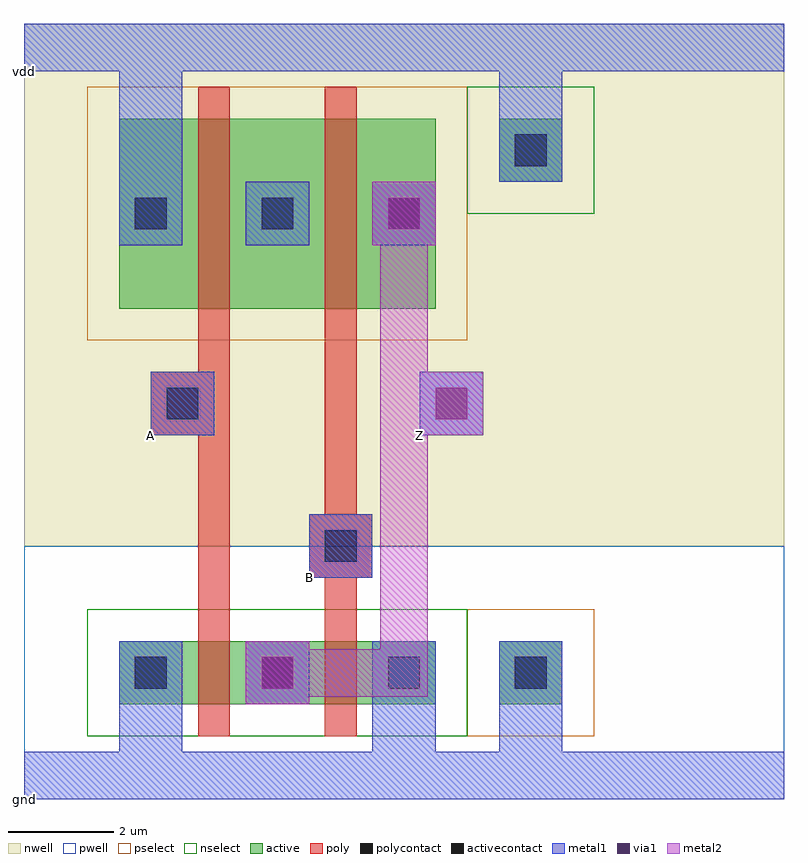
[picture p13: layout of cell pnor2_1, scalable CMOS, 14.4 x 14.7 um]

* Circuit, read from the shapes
.subckt pnor2_1 A B Z gnd vdd
M1 Z A gnd gnd nfet w=1.2u l=0.6u
M2 gnd B Z gnd nfet w=1.2u l=0.6u
M3 pmos_m1_w3_6_a_p_0/D A vdd vdd pfet w=3.6u l=0.6u
M4 Z B pmos_m1_w3_6_a_p_0/D vdd pfet w=3.6u l=0.6u
.ends

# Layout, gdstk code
from math import pi, radians
import gdstk
lib = gdstk.Library(unit=1e-6, precision=1e-09)
def R(c, l, rs):  # rectangles x0, y0, x1, y1
    for r in rs: c.add(gdstk.rectangle(r[:2], r[2:], *l))
pwell = (41, 0)
nwell = (42, 0)
active = (43, 0)
pselect = (44, 0)
nselect = (45, 0)
poly = (46, 0)
polycontact = (47, 0)
activecontact = (48, 0)
metal1 = (49, 0)
via1 = (50, 0)
metal2 = (51, 0)

active_contact_metal1_1x = lib.new_cell('active_contact_metal1_1x1_pn')
R(active_contact_metal1_1x, nwell, [(-1.8,-1.8,3,3), (-1.8,-1.8,3,3)])
R(active_contact_metal1_1x, active, [(0,0,1.2,1.2), (0,0,1.2,1.2)])
R(active_contact_metal1_1x, pselect, [(-0.6,-0.6,1.8,1.8), (-0.6,-0.6,1.8,1.8)])
R(active_contact_metal1_1x, activecontact, [(0.3,0.3,0.9,0.9), (0.3,0.3,0.9,0.9)])
R(active_contact_metal1_1x, metal1, [(0,0,1.2,1.2), (0,0,1.2,1.2)])

pmos_m1_w3_6_a_p = lib.new_cell('pmos_m1_w3_6_a_p')
R(pmos_m1_w3_6_a_p, nwell, [(-1.8,-1.8,5.4,5.4)])
R(pmos_m1_w3_6_a_p, active, [(0,0,3.6,3.6)])
R(pmos_m1_w3_6_a_p, pselect, [(-0.6,-0.6,4.2,4.2)])
R(pmos_m1_w3_6_a_p, poly, [(1.5,-0.6,2.1,4.2), (1.5,-0.6,2.1,4.2)])
R(pmos_m1_w3_6_a_p, metal1, [(0,1.2,1.2,2.4), (2.4,1.2,3.6,2.4)])
pmos_m1_w3_6_a_p.add(gdstk.Reference(active_contact_metal1_1x, (0,1.2)))
pmos_m1_w3_6_a_p.add(gdstk.Reference(active_contact_metal1_1x, (2.4,1.2)))
pmos_m1_w3_6_a_p.add(gdstk.Label('S', (0,1.2), layer=49, texttype=0))
pmos_m1_w3_6_a_p.add(gdstk.Label('D', (2.4,1.2), layer=49, texttype=0))
pmos_m1_w3_6_a_p.add(gdstk.Label('G', (1.5,-0.6), layer=46, texttype=0))

c_active_contact_metal1_1x = lib.new_cell('active_contact_metal1_1x1_np')
R(c_active_contact_metal1_1x, pwell, [(-1.8,-1.8,3,3)])
R(c_active_contact_metal1_1x, active, [(0,0,1.2,1.2)])
R(c_active_contact_metal1_1x, nselect, [(-0.6,-0.6,1.8,1.8)])
R(c_active_contact_metal1_1x, activecontact, [(0.3,0.3,0.9,0.9)])
R(c_active_contact_metal1_1x, metal1, [(0,0,1.2,1.2)])

nmos_m1_w1_2_a_p = lib.new_cell('nmos_m1_w1_2_a_p')
R(nmos_m1_w1_2_a_p, pwell, [(-1.8,-1.8,5.4,3), (-1.8,-1.8,5.4,3)])
R(nmos_m1_w1_2_a_p, active, [(0,0,3.6,1.2), (0,0,3.6,1.2)])
R(nmos_m1_w1_2_a_p, nselect, [(-0.6,-0.6,4.2,1.8), (-0.6,-0.6,4.2,1.8)])
R(nmos_m1_w1_2_a_p, poly, [(1.5,-0.6,2.1,1.8), (1.5,-0.6,2.1,1.8), (1.5,-0.6,2.1,1.8), (1.5,-0.6,2.1,1.8)])
R(nmos_m1_w1_2_a_p, metal1, [(0,0,1.2,1.2), (0,0,1.2,1.2), (2.4,0,3.6,1.2), (2.4,0,3.6,1.2)])
nmos_m1_w1_2_a_p.add(gdstk.Reference(c_active_contact_metal1_1x, (0,0)))
nmos_m1_w1_2_a_p.add(gdstk.Reference(c_active_contact_metal1_1x, (2.4,0)))
nmos_m1_w1_2_a_p.add(gdstk.Reference(c_active_contact_metal1_1x, (0,0)))
nmos_m1_w1_2_a_p.add(gdstk.Reference(c_active_contact_metal1_1x, (2.4,0)))
nmos_m1_w1_2_a_p.add(gdstk.Label('S', (0,0), layer=49, texttype=0))
nmos_m1_w1_2_a_p.add(gdstk.Label('D', (2.4,0), layer=49, texttype=0))
nmos_m1_w1_2_a_p.add(gdstk.Label('G', (1.5,-0.6), layer=46, texttype=0))
nmos_m1_w1_2_a_p.add(gdstk.Label('S', (0,0), layer=49, texttype=0))
nmos_m1_w1_2_a_p.add(gdstk.Label('D', (2.4,0), layer=49, texttype=0))
nmos_m1_w1_2_a_p.add(gdstk.Label('G', (1.5,-0.6), layer=46, texttype=0))

c_active_contact_metal1_1x_ = lib.new_cell('active_contact_metal1_1x1_nn')
R(c_active_contact_metal1_1x_, nwell, [(-1.8,-1.8,3,3), (-1.8,-1.8,3,3)])
R(c_active_contact_metal1_1x_, active, [(0,0,1.2,1.2), (0,0,1.2,1.2)])
R(c_active_contact_metal1_1x_, nselect, [(-0.6,-0.6,1.8,1.8), (-0.6,-0.6,1.8,1.8)])
R(c_active_contact_metal1_1x_, activecontact, [(0.3,0.3,0.9,0.9), (0.3,0.3,0.9,0.9)])
R(c_active_contact_metal1_1x_, metal1, [(0,0,1.2,1.2), (0,0,1.2,1.2)])

c_active_contact_metal1_1x__ = lib.new_cell('active_contact_metal1_1x1_pp')
R(c_active_contact_metal1_1x__, pwell, [(-1.8,-1.8,3,3)])
R(c_active_contact_metal1_1x__, active, [(0,0,1.2,1.2)])
R(c_active_contact_metal1_1x__, pselect, [(-0.6,-0.6,1.8,1.8)])
R(c_active_contact_metal1_1x__, activecontact, [(0.3,0.3,0.9,0.9)])
R(c_active_contact_metal1_1x__, metal1, [(0,0,1.2,1.2)])

poly_contact_metal1_1x1 = lib.new_cell('poly_contact_metal1_1x1')
R(poly_contact_metal1_1x1, poly, [(0,0,1.2,1.2), (0,0,1.2,1.2)])
R(poly_contact_metal1_1x1, polycontact, [(0.3,0.3,0.9,0.9), (0.3,0.3,0.9,0.9)])
R(poly_contact_metal1_1x1, metal1, [(0,0,1.2,1.2), (0,0,1.2,1.2)])

metal1_via1_metal2_1x1 = lib.new_cell('metal1_via1_metal2_1x1')
R(metal1_via1_metal2_1x1, metal1, [(0,0,1.2,1.2), (0,0,1.2,1.2)])
R(metal1_via1_metal2_1x1, via1, [(0.3,0.3,0.9,0.9), (0.3,0.3,0.9,0.9)])
R(metal1_via1_metal2_1x1, metal2, [(0,0,1.2,1.2), (0,0,1.2,1.2)])

pnor2_1 = lib.new_cell('pnor2_1')
R(pnor2_1, pwell, [(0,-0.45,14.4,4.35)])
R(pnor2_1, nwell, [(0,4.35,14.4,14.25)])
R(pnor2_1, poly, [(3.3,0.75,3.9,8.25), (5.7,0.75,6.3,8.25), (5.7,3.75,6,4.95), (3,6.45,3.3,7.65)])
R(pnor2_1, metal1, [(0,-0.45,14.4,0.45), (1.8,-0.45,3,1.35), (6.6,-0.45,7.8,1.35), (9,0,10.2,1.95), (5.4,3.75,6.6,4.95), (2.4,6.45,3.6,7.65), (7.5,6.45,8.7,7.65), (1.8,10.05,3,14.25), (9,11.85,10.2,13.8), (0,13.35,14.4,14.25)])
R(pnor2_1, metal2, [(5.4,1.5,7.2,2.4), (6.75,1.5,7.65,2.4), (6.75,1.95,7.65,7.05), (6.75,6.6,7.65,7.5), (7.2,6.6,8.1,7.5), (6.75,7.05,7.65,10.05)])
pnor2_1.add(gdstk.Reference(pmos_m1_w3_6_a_p, (1.8,8.85)))
pnor2_1.add(gdstk.Reference(pmos_m1_w3_6_a_p, (4.2,8.85)))
pnor2_1.add(gdstk.Reference(nmos_m1_w1_2_a_p, (1.8,1.35)))
pnor2_1.add(gdstk.Reference(nmos_m1_w1_2_a_p, (4.2,1.35)))
pnor2_1.add(gdstk.Reference(c_active_contact_metal1_1x_, (9,11.25)))
pnor2_1.add(gdstk.Reference(c_active_contact_metal1_1x__, (9,1.35)))
pnor2_1.add(gdstk.Reference(poly_contact_metal1_1x1, (6.6,3.75), rotation=pi/2))
pnor2_1.add(gdstk.Reference(poly_contact_metal1_1x1, (3.6,6.45), rotation=pi/2))
pnor2_1.add(gdstk.Reference(metal1_via1_metal2_1x1, (6.6,10.05)))
pnor2_1.add(gdstk.Reference(metal1_via1_metal2_1x1, (5.4,1.35), rotation=pi/2))
pnor2_1.add(gdstk.Reference(metal1_via1_metal2_1x1, (8.7,6.45), rotation=pi/2))
pnor2_1.add(gdstk.Label('A', (2.4,6.45), layer=49, texttype=0))
pnor2_1.add(gdstk.Label('Z', (7.5,6.45), layer=49, texttype=0))
pnor2_1.add(gdstk.Label('B', (5.4,3.75), layer=49, texttype=0))
pnor2_1.add(gdstk.Label('vdd', (0,13.35), layer=49, texttype=0))
pnor2_1.add(gdstk.Label('gnd', (0,-0.45), layer=49, texttype=0))

lib.write_gds('pnor2_1.gds')
